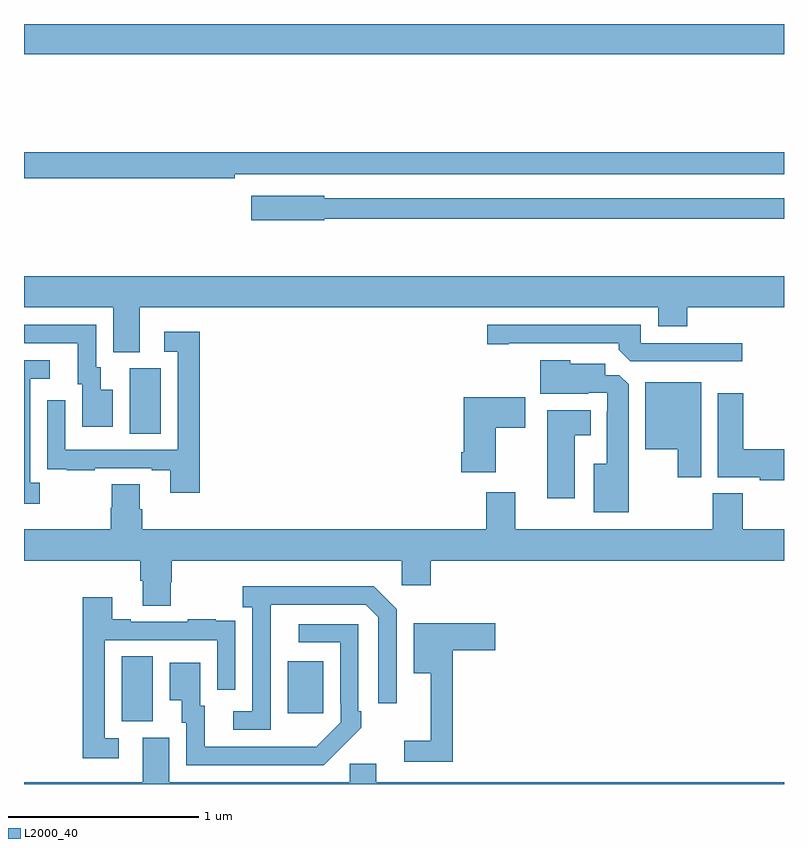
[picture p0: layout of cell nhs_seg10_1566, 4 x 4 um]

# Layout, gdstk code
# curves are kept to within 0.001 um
import gdstk
lib = gdstk.Library(unit=1e-6, precision=1e-09)
def R(c, l, rs):  # rectangles x0, y0, x1, y1
    for r in rs: c.add(gdstk.rectangle(r[:2], r[2:], *l))
def P(c, l, *ps):  # polygons
    for p in ps: c.add(gdstk.Polygon(p, *l))
L2000_40 = (2000, 40)

nhs_seg10_1566 = lib.new_cell('nhs_seg10_1566')
R(nhs_seg10_1566, L2000_40, [(193.514,1272.829,193.678,1273.172), (194.387,1272.873,194.575,1273.147), (193.556,1274.344,193.72,1274.688), (193,1276.34,197,1276.5)])
P(nhs_seg10_1566, L2000_40, [(194.108,1275.708),(197,1275.708),(197,1275.824),(193,1275.824),(193,1275.688),(194.108,1275.688)],
  [(194.58,1275.474),(197,1275.474),(197,1275.582),(194.58,1275.582),(194.58,1275.595),(194.196,1275.595),(194.196,1275.466),(194.58,1275.466)],
  [(193.609,1275.008),(196.337,1275.008),(196.337,1274.909),(196.49,1274.909),(196.49,1275.008),(197,1275.008),(197,1275.172),(193,1275.172),(193,1275.008),(193.469,1275.008),(193.469,1274.773),(193.609,1274.773)],
  [(196.78,1274.82),(196.245,1274.82),(196.245,1274.916),(195.438,1274.916),(195.438,1274.815),(195.55,1274.815),(195.55,1274.82),(196.13,1274.82),(196.13,1274.786),(196.191,1274.724),(196.78,1274.724)],
  [(193.468,1274.575),(193.405,1274.575),(193.405,1274.694),(193.38,1274.694),(193.38,1274.916),(193,1274.916),(193,1274.82),(193.283,1274.82),(193.283,1274.604),(193.307,1274.604),(193.307,1274.379),(193.468,1274.379)],
  [(193.925,1274.881),(193.737,1274.881),(193.737,1274.775),(193.809,1274.775),(193.809,1274.259),(193.218,1274.259),(193.218,1274.521),(193.122,1274.521),(193.122,1274.266),(193.123,1274.266),(193.123,1274.157),(193.225,1274.157),(193.225,1274.151),(193.373,1274.151),(193.373,1274.163),(193.673,1274.163),(193.673,1274.151),(193.769,1274.151),(193.769,1274.034),(193.925,1274.034)],
  [(196.183,1274.603),(196.134,1274.652),(196.06,1274.652),(196.06,1274.713),(195.876,1274.713),(195.876,1274.731),(195.716,1274.731),(195.716,1274.555),(195.971,1274.555),(195.971,1274.559),(196.071,1274.559),(196.071,1274.459),(196.067,1274.459),(196.067,1274.185),(195.998,1274.185),(195.998,1273.931),(196.183,1273.931)],
  [(193.084,1274.086),(193.032,1274.086),(193.032,1274.634),(193.135,1274.634),(193.135,1274.73),(193,1274.73),(193,1273.976),(193.084,1273.976)],
  [(196.564,1274.614),(196.271,1274.614),(196.271,1274.261),(196.442,1274.261),(196.442,1274.115),(196.564,1274.115)],
  [(197,1274.263),(196.786,1274.263),(196.786,1274.557),(196.652,1274.557),(196.652,1274.114),(196.872,1274.114),(196.872,1274.099),(197,1274.099)],
  [(195.484,1274.374),(195.637,1274.374),(195.637,1274.536),(195.314,1274.536),(195.314,1274.245),(195.302,1274.245),(195.302,1274.141),(195.484,1274.141)],
  [(195.898,1274.336),(195.982,1274.336),(195.982,1274.467),(195.755,1274.467),(195.755,1274.004),(195.898,1274.004)],
  [(193.773,1273.563),(193.778,1273.563),(193.778,1273.676),(194.988,1273.676),(194.988,1273.545),(195.14,1273.545),(195.14,1273.676),(197,1273.676),(197,1273.84),(196.784,1273.84),(196.784,1274.029),(196.624,1274.029),(196.624,1273.84),(195.586,1273.84),(195.586,1274.035),(195.434,1274.035),(195.434,1273.84),(193.622,1273.84),(193.622,1273.946),(193.609,1273.946),(193.609,1274.078),(193.462,1274.078),(193.462,1273.953),(193.457,1273.953),(193.457,1273.84),(193,1273.84),(193,1273.676),(193.613,1273.676),(193.613,1273.57),(193.625,1273.57),(193.625,1273.438),(193.773,1273.438)],
  [(194.298,1273.243),(194.299,1273.443),(194.799,1273.443),(194.865,1273.377),(194.865,1272.924),(194.961,1272.924),(194.961,1273.419),(194.84,1273.54),(194.151,1273.54),(194.151,1273.43),(194.202,1273.43),(194.202,1272.882),(194.1,1272.882),(194.1,1272.786),(194.298,1272.786)],
  [(193.498,1272.741),(193.425,1272.741),(193.425,1273.257),(194.016,1273.257),(194.016,1272.996),(194.112,1272.996),(194.112,1273.25),(194.111,1273.25),(194.111,1273.359),(194.009,1273.359),(194.009,1273.366),(193.861,1273.366),(193.861,1273.353),(193.561,1273.353),(193.561,1273.366),(193.465,1273.366),(193.465,1273.483),(193.309,1273.483),(193.309,1272.636),(193.498,1272.636)],
  [(195.257,1273.205),(195.481,1273.205),(195.481,1273.347),(195.05,1273.347),(195.05,1273.082),(195.14,1273.082),(195.14,1272.727),(195,1272.727),(195,1272.618),(195.257,1272.618)],
  [(194.669,1272.691),(194.67,1272.69),(194.775,1272.795),(194.775,1272.883),(194.76,1272.883),(194.76,1273.341),(194.445,1273.341),(194.445,1273.245),(194.664,1273.245),(194.664,1272.925),(194.667,1272.925),(194.667,1272.825),(194.539,1272.697),(193.951,1272.696),(193.951,1272.912),(193.927,1272.912),(193.927,1273.138),(193.766,1273.138),(193.766,1272.941),(193.829,1272.941),(193.829,1272.822),(193.854,1272.822),(193.854,1272.6),(194.578,1272.6)],
  [(197,1272.508),(194.854,1272.508),(194.854,1272.606),(194.715,1272.606),(194.715,1272.508),(193.765,1272.508),(193.765,1272.744),(193.625,1272.744),(193.625,1272.508),(193,1272.508),(193,1272.5),(197,1272.5)])

lib.write_gds('nhs_seg10_1566.gds')
